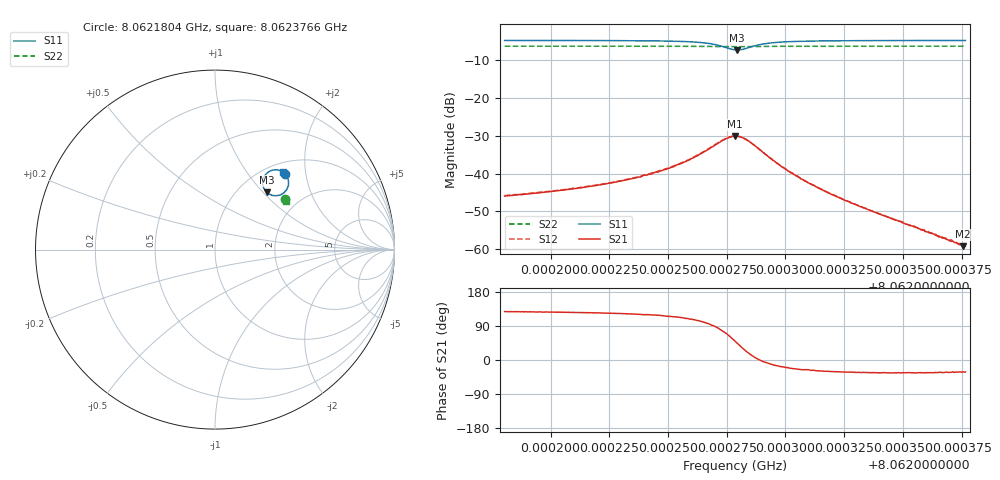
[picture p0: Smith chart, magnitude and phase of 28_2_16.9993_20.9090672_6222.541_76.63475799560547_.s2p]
#  HZ  S  RI  R  50.00
! Rohde & Schwarz Vector Network Analyzer
! Rohde-Schwarz,ZNB20-2Port,1311601062101988,3.16
! Created: UTC 3/20/2024, 10:53:16 PM
! freq[Hz]  re:S11  im:S11  re:S21  im:S21  re:S12  im:S12  re:S22  im:S22
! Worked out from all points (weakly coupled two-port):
!   401 points, 8.0621804 GHz to 8.0623766 GHz, reference 50 ohm
!   highest |S21| = -30.09 dB at 8.0622785 GHz (marker M1); lowest = -59.2 dB at 8.0623756 GHz (marker M2)
!   lowest |S11| = -7.3 dB at 8.0622795 GHz (marker M3), VSWR 2.51, Z = 67.2 + j52.5 ohm
!   |S11| at or under -10 dB: nowhere
!   |S22| runs from -6.4 to -6.3 dB; largest |S21 - S12| = 0.0025
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8.06218041e9  0.3903 0.4226  -0.0031 0.00399  -0.00289 0.00426  0.3925 0.2806
8.06220052e9  0.3935 0.4185  -0.00344 0.00469  -0.00321 0.00496  0.3931 0.2794
8.06221327e9  0.3962 0.415  -0.00375 0.00533  -0.00348 0.00564  0.3935 0.2789
8.06223044e9  0.4008 0.4079  -0.00432 0.00681  -0.00397 0.00714  0.394 0.2777
8.06223829e9  0.4035 0.4026  -0.00454 0.0078  -0.00419 0.00824  0.3944 0.2772
8.06224613e9  0.4064 0.3952  -0.00499 0.00937  -0.00441 0.00996  0.3947 0.2765
8.06225153e9  0.4083 0.3876  -0.00504 0.011  -0.00432 0.0115  0.3947 0.2757
8.06225889e9  0.4099 0.3718  -0.00484 0.0143  -0.00397 0.0148  0.3949 0.2749
8.06226772e9  0.4006 0.3365  -0.00178 0.0214  -0.000262 0.0218  0.3942 0.2729
8.06227409e9  0.3583 0.3031  0.00833 0.0271  0.0104 0.0268  0.3921 0.272
8.06227654e9  0.3276 0.3008  0.0147 0.0265  0.0169 0.0257  0.3909 0.2722
8.06227851e9  0.3011 0.31  0.0202 0.0239  0.0221 0.0224  0.3901 0.2731
8.06227949e9  0.2894 0.3185  0.0223 0.0217  0.0241 0.02  0.3897 0.2735
8.06228194e9  0.2696 0.3479  0.0257 0.0148  0.0268 0.0129  0.3896 0.2749
8.06228439e9  0.2658 0.3794  0.0257 0.00813  0.0261 0.0063  0.3897 0.2761
8.06229126e9  0.2943 0.4302  0.0181 -0.00186  0.018 -0.00304  0.392 0.2774
8.06230156e9  0.3314 0.4445  0.00996 -0.00386  0.00975 -0.00447  0.3941 0.2769
8.06231137e9  0.3491 0.4437  0.00631 -0.00323  0.00614 -0.00365  0.3951 0.2762
8.06232461e9  0.3617 0.4406  0.00387 -0.00237  0.00377 -0.00262  0.396 0.2753
8.06234423e9  0.3713 0.4365  0.00218 -0.00146  0.00208 -0.0016  0.3969 0.2741
8.06237562e9  0.3793 0.4319  0.000947 -0.000562  0.000909 -0.000658  0.3981 0.2723
8.0623766e9  0.3794 0.4317  0.000948 -0.000582  0.00093 -0.000624  0.3982 0.2723
